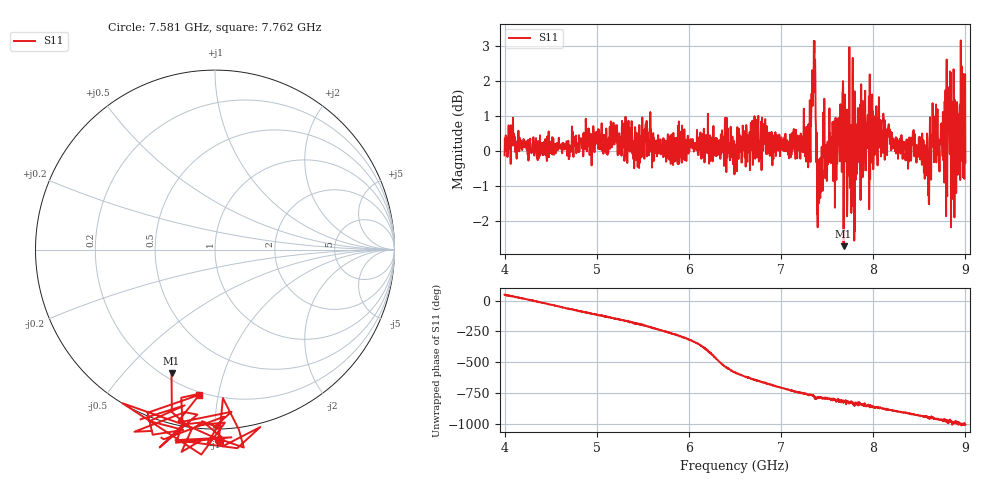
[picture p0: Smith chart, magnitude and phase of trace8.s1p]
! Created with skrf 1.8.0 (http://scikit-rf.org).
# Hz S RI R 50.0
!freq ReS11 ImS11
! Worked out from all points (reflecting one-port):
!   1601 points, 4 GHz to 9 GHz, reference 50 ohm
!   lowest |S11| = -2.7 dB at 7.678 GHz (marker M1), VSWR 6.40, Z = 11.6 - j34.1 ohm
!   phase of S11 starts at 48 deg and turns -1054 deg over the sweep
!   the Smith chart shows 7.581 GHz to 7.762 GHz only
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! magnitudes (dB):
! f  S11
! 4 GHz  -0.1
! 4.625 GHz  -0.1
! 5.25 GHz  -0.1
! 5.875 GHz  0.2
! 6.412 GHz  0.3
! 6.5 GHz  -0.6
! 6.728 GHz  0.9
! 7.125 GHz  0.3
! 7.294 GHz  -0.5
! 7.347 GHz  2.1
! 7.362 GHz  3.1
! 7.4 GHz  -0.5
! 7.416 GHz  -1.0
! 7.453 GHz  -0.3
! 7.678 GHz  -2.7
! 7.703 GHz  1.2
! 7.75 GHz  0.2
! 7.784 GHz  -0.3
! 7.844 GHz  1.1
! 8.053 GHz  0.8
! 8.375 GHz  0.0
! 8.584 GHz  0.5
! 8.656 GHz  0.8
! 8.778 GHz  0.9
! 8.831 GHz  -0.1
! 8.869 GHz  -1.1
! 8.953 GHz  -0.3
! 9 GHz  -0.3
